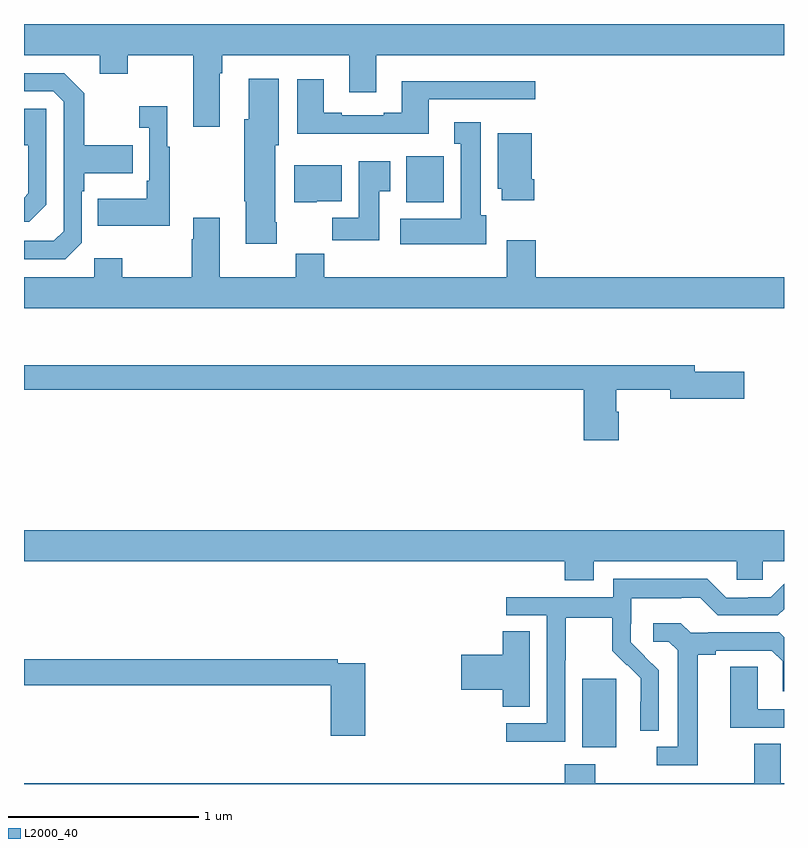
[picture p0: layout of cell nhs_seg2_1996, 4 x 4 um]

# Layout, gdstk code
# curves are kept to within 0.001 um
import gdstk
lib = gdstk.Library(unit=1e-6, precision=1e-09)
def R(c, l, rs):  # rectangles x0, y0, x1, y1
    for r in rs: c.add(gdstk.rectangle(r[:2], r[2:], *l))
def P(c, l, *ps):  # polygons
    for p in ps: c.add(gdstk.Polygon(p, *l))
L2000_40 = (2000, 40)

nhs_seg2_1996 = lib.new_cell('nhs_seg2_1996')
R(nhs_seg2_1996, L2000_40, [(217.937,643.994,218.116,644.355), (217.013,646.862,217.21,647.104)])
P(nhs_seg2_1996, L2000_40, [(216.031,647.54),(216.044,647.54),(216.044,647.636),(216.713,647.636),(216.713,647.442),(216.853,647.442),(216.853,647.636),(219,647.636),(219,647.8),(215,647.8),(215,647.636),(215.399,647.636),(215.399,647.537),(215.547,647.537),(215.547,647.636),(215.891,647.636),(215.891,647.259),(216.031,647.259)],
  [(215.304,646.65),(215.304,646.919),(215.317,646.919),(215.317,647.015),(215.573,647.015),(215.573,647.163),(215.317,647.163),(215.317,647.435),(215.211,647.541),(215,647.541),(215,647.445),(215.154,647.445),(215.208,647.391),(215.208,646.71),(215.157,646.659),(215,646.659),(215,646.563),(215.217,646.563)],
  [(216.33,646.756),(216.322,646.756),(216.322,647.163),(216.34,647.163),(216.34,647.512),(216.182,647.512),(216.182,647.298),(216.16,647.298),(216.16,646.867),(216.167,646.867),(216.167,646.644),(216.33,646.644)],
  [(217.129,647.403),(217.69,647.403),(217.69,647.5),(216.989,647.5),(216.989,647.332),(216.893,647.332),(216.893,647.319),(216.673,647.319),(216.673,647.332),(216.577,647.332),(216.577,647.509),(216.437,647.509),(216.437,647.222),(217.129,647.222)],
  [(215.767,647.155),(215.755,647.155),(215.755,647.368),(215.607,647.368),(215.607,647.255),(215.658,647.255),(215.658,646.975),(215.646,646.975),(215.646,646.879),(215.389,646.879),(215.389,646.739),(215.767,646.739)],
  [(215.118,646.848),(215.118,647.355),(215,647.355),(215,647.259),(215.002,647.259),(215.002,647.162),(215.022,647.162),(215.022,646.908),(215,646.886),(215,646.758),(215.028,646.758)],
  [(217.432,646.794),(217.405,646.794),(217.405,647.284),(217.265,647.284),(217.265,647.171),(217.298,647.171),(217.298,646.774),(216.981,646.774),(216.981,646.64),(217.432,646.64)],
  [(217.685,646.984),(217.672,646.984),(217.672,647.224),(217.493,647.224),(217.493,646.932),(217.514,646.932),(217.514,646.872),(217.685,646.872)],
  [(216.871,646.921),(216.928,646.921),(216.928,647.077),(216.761,647.077),(216.761,646.78),(216.622,646.78),(216.622,646.662),(216.871,646.662)],
  [(216.54,646.868),(216.673,646.868),(216.673,647.056),(216.422,647.056),(216.422,646.862),(216.54,646.862)],
  [(219,646.468),(217.694,646.468),(217.694,646.663),(217.541,646.663),(217.541,646.468),(216.581,646.468),(216.581,646.592),(216.43,646.592),(216.43,646.468),(216.031,646.468),(216.031,646.78),(215.891,646.78),(215.891,646.667),(215.884,646.667),(215.884,646.468),(215.517,646.468),(215.517,646.567),(215.37,646.567),(215.37,646.468),(215,646.468),(215,646.304),(219,646.304)],
  [(218.129,645.759),(218.116,645.759),(218.116,645.874),(218.402,645.874),(218.402,645.827),(218.791,645.827),(218.791,645.969),(218.53,645.969),(218.53,646.003),(215,646.003),(215,645.874),(217.946,645.874),(217.946,645.609),(218.129,645.609)],
  [(217.999,644.972),(218.751,644.972),(218.751,644.874),(218.889,644.874),(218.889,644.972),(219,644.972),(219,645.136),(215,645.136),(215,644.972),(217.847,644.972),(217.847,644.873),(217.999,644.873)],
  [(217.848,644.452),(217.851,644.452),(217.851,644.676),(218.095,644.676),(218.095,644.501),(218.172,644.424),(218.175,644.427),(218.246,644.357),(218.246,644.234),(218.244,644.234),(218.244,644.08),(218.34,644.08),(218.34,644.398),(218.194,644.546),(218.194,644.643),(218.196,644.643),(218.196,644.777),(218.459,644.777),(218.459,644.781),(218.559,644.781),(218.652,644.688),(218.967,644.688),(219,644.721),(219,644.853),(218.931,644.784),(218.813,644.784),(218.813,644.781),(218.697,644.781),(218.597,644.881),(218.1,644.881),(218.1,644.784),(217.539,644.784),(217.539,644.688),(217.752,644.688),(217.752,644.121),(217.539,644.121),(217.539,644.023),(217.848,644.023)],
  [(218.545,644.48),(218.641,644.48),(218.641,644.502),(218.936,644.502),(218.993,644.445),(218.993,644.289),(219,644.289),(219,644.572),(218.974,644.598),(218.602,644.598),(218.602,644.595),(218.508,644.595),(218.456,644.647),(218.313,644.647),(218.313,644.55),(218.394,644.55),(218.441,644.503),(218.441,643.995),(218.331,643.995),(218.331,643.899),(218.545,643.899)],
  [(217.663,644.603),(217.52,644.603),(217.52,644.48),(217.302,644.48),(217.302,644.297),(217.52,644.297),(217.52,644.206),(217.663,644.206)],
  [(216.797,644.436),(216.65,644.436),(216.65,644.456),(215,644.456),(215,644.32),(216.614,644.32),(216.614,644.055),(216.797,644.055)],
  [(219,644.193),(218.862,644.193),(218.862,644.417),(218.717,644.417),(218.717,644.097),(219,644.097)],
  [(219,643.804),(218.983,643.804),(218.983,644.012),(218.843,644.012),(218.843,643.804),(218.007,643.804),(218.007,643.903),(217.847,643.903),(217.847,643.804),(215,643.804),(215,643.8),(219,643.8)])

lib.write_gds('nhs_seg2_1996.gds')
